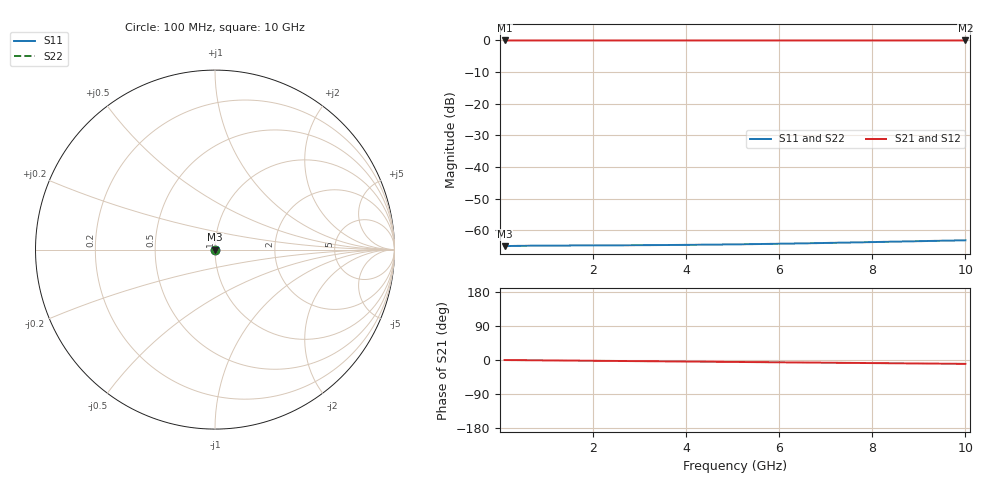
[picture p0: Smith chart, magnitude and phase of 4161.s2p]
# Hz S RI R 50.00
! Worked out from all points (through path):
!   100 points, 100 MHz to 10 GHz, reference 50 ohm
!   highest |S21| = 0.00 dB at 100 MHz (marker M1); lowest = 0.0 dB at 10 GHz (marker M2)
!   group delay of S21, straight-line fit = 2.83 ps
!   lowest |S11| = -65.0 dB at 100 MHz (marker M3), VSWR 1.00, Z = 50.1 - j0.000367 ohm
!   |S11| at or under -10 dB: start of sweep to end of sweep
!   |S22| runs from -65.0 to -63.2 dB; largest |S21 - S12| = 1e-12
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1e8  0.000559 -3.66e-06  0.9994 -0.00177  0.9994 -0.00177  0.000559 -3.66e-06
2e8  0.000562 -7.34e-06  0.9994 -0.00353  0.9994 -0.00353  0.000562 -7.34e-06
3e8  0.000564 -1.1e-05  0.9994 -0.0053  0.9994 -0.0053  0.000564 -1.1e-05
4e8  0.000566 -1.48e-05  0.9994 -0.00707  0.9994 -0.00707  0.000566 -1.48e-05
6e8  0.000568 -2.23e-05  0.9994 -0.0106  0.9994 -0.0106  0.000568 -2.23e-05
8e8  0.000569 -3e-05  0.9993 -0.0141  0.9993 -0.0141  0.000569 -3e-05
1.1e9  0.00057 -4.18e-05  0.9992 -0.0194  0.9992 -0.0194  0.00057 -4.18e-05
1.8e9  0.00057 -7.06e-05  0.9989 -0.0318  0.9989 -0.0318  0.00057 -7.06e-05
2.7e9  0.000567 -0.000111  0.9982 -0.0477  0.9982 -0.0477  0.000567 -0.000111
3.4e9  0.000564 -0.000145  0.9976 -0.0601  0.9976 -0.0601  0.000564 -0.000145
3.9e9  0.000561 -0.00017  0.997 -0.0689  0.997 -0.0689  0.000561 -0.00017
4.3e9  0.000558 -0.000191  0.9965 -0.076  0.9965 -0.076  0.000558 -0.000191
4.7e9  0.000554 -0.000212  0.9959 -0.0831  0.9959 -0.0831  0.000554 -0.000212
5.1e9  0.000551 -0.000234  0.9953 -0.0901  0.9953 -0.0901  0.000551 -0.000234
5.5e9  0.000546 -0.000256  0.9946 -0.0972  0.9946 -0.0972  0.000546 -0.000256
5.9e9  0.000542 -0.000279  0.9939 -0.1043  0.9939 -0.1043  0.000542 -0.000279
6.3e9  0.000537 -0.000301  0.9931 -0.1114  0.9931 -0.1114  0.000537 -0.000301
6.7e9  0.000532 -0.000324  0.9923 -0.1184  0.9923 -0.1184  0.000532 -0.000324
7.4e9  0.000523 -0.000364  0.9907 -0.1308  0.9907 -0.1308  0.000523 -0.000364
8.4e9  0.000508 -0.000418  0.9882 -0.1485  0.9882 -0.1485  0.000508 -0.000418
9.3e9  0.000493 -0.000465  0.9857 -0.1643  0.9857 -0.1643  0.000493 -0.000465
1e10  0.000481 -0.000498  0.9835 -0.1767  0.9835 -0.1767  0.000481 -0.000498
